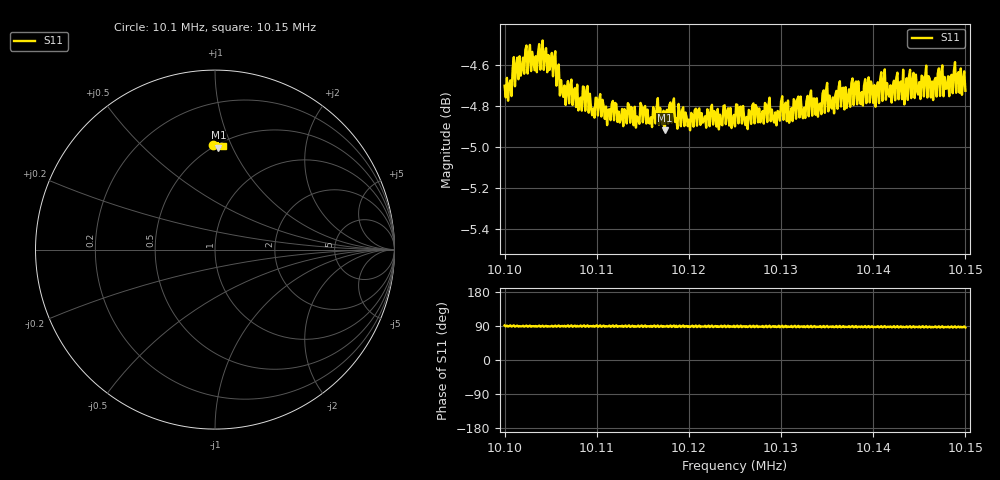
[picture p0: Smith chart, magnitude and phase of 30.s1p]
# Hz S RI R 50
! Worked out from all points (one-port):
!   401 points, 10.1 MHz to 10.15 MHz, reference 50 ohm
!   lowest |S11| = -4.9 dB at 10.1174 MHz (marker M1), VSWR 3.62, Z = 26.4 + j44.2 ohm
!   |S11| at or under -10 dB: nowhere
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1.01e7  -0.0124 0.5818
1.010138e7  -0.00775 0.5911
1.010388e7  0.0222 0.5868
1.010625e7  -0.000603 0.58
1.0107e7  0.0221 0.5758
1.010862e7  -0.0144 0.5813
1.010875e7  0.0237 0.5733
1.0109e7  -0.0139 0.5817
1.011012e7  0.0244 0.5718
1.011038e7  -0.0143 0.579
1.011175e7  -0.0128 0.5769
1.011188e7  0.026 0.5702
1.01125e7  0.00615 0.57
1.011325e7  0.0263 0.5692
1.01135e7  -0.014 0.5755
1.011462e7  0.0266 0.569
1.011488e7  -0.012 0.5752
1.0115e7  0.028 0.5695
1.011525e7  -0.0123 0.5752
1.011638e7  0.028 0.5691
1.011738e7  0.0193 0.5672
1.011875e7  0.0288 0.5674
1.0125e7  0.0322 0.5679
1.013125e7  0.0349 0.5695
1.01375e7  0.0376 0.5739
1.014375e7  0.0413 0.5758
1.014862e7  0.0446 0.5778
1.015e7  0.0452 0.5785
